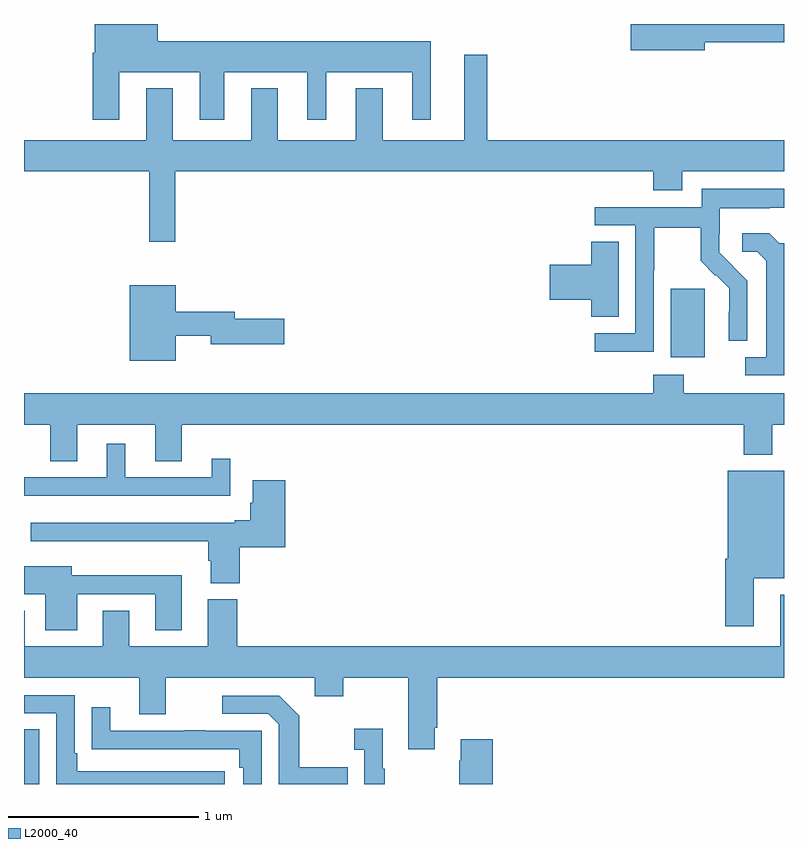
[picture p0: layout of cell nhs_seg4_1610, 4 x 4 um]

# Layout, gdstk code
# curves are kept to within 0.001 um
import gdstk
lib = gdstk.Library(unit=1e-6, precision=1e-09)
def R(c, l, rs):  # rectangles x0, y0, x1, y1
    for r in rs: c.add(gdstk.rectangle(r[:2], r[2:], *l))
def P(c, l, *ps):  # polygons
    for p in ps: c.add(gdstk.Polygon(p, *l))
L2000_40 = (2000, 40)

nhs_seg4_1610 = lib.new_cell('nhs_seg4_1610')
R(nhs_seg4_1610, L2000_40, [(193,822.9,193.08,823.187), (196.403,825.146,196.582,825.507)])
P(nhs_seg4_1610, L2000_40, [(196.582,826.804),(197,826.804),(197,826.9),(196.194,826.9),(196.194,826.762),(196.582,826.762)],
  [(193.501,826.646),(193.925,826.646),(193.925,826.395),(194.053,826.395),(194.053,826.646),(194.492,826.646),(194.492,826.395),(194.59,826.395),(194.59,826.646),(195.044,826.646),(195.044,826.395),(195.142,826.395),(195.142,826.81),(193.705,826.81),(193.705,826.9),(193.373,826.9),(193.373,826.75),(193.361,826.75),(193.361,826.395),(193.501,826.395)],
  [(193.796,826.124),(196.313,826.124),(196.313,826.025),(196.465,826.025),(196.465,826.124),(197,826.124),(197,826.288),(195.439,826.288),(195.439,826.738),(195.317,826.738),(195.317,826.288),(194.887,826.288),(194.887,826.561),(194.747,826.561),(194.747,826.288),(194.335,826.288),(194.335,826.561),(194.195,826.561),(194.195,826.288),(193.783,826.288),(193.783,826.561),(193.643,826.561),(193.643,826.288),(193,826.288),(193,826.124),(193.66,826.124),(193.66,825.753),(193.796,825.753)],
  [(196.314,825.604),(196.317,825.604),(196.317,825.828),(196.561,825.828),(196.561,825.653),(196.638,825.576),(196.641,825.579),(196.712,825.509),(196.712,825.386),(196.71,825.386),(196.71,825.232),(196.806,825.232),(196.806,825.55),(196.66,825.698),(196.66,825.795),(196.662,825.795),(196.662,825.929),(196.925,825.929),(196.925,825.933),(197,825.933),(197,826.033),(196.566,826.033),(196.566,825.936),(196.005,825.936),(196.005,825.84),(196.218,825.84),(196.218,825.273),(196.005,825.273),(196.005,825.175),(196.314,825.175)],
  [(197,825.747),(196.974,825.747),(196.922,825.799),(196.779,825.799),(196.779,825.702),(196.86,825.702),(196.907,825.655),(196.907,825.147),(196.797,825.147),(196.797,825.051),(197,825.051)],
  [(196.129,825.755),(195.986,825.755),(195.986,825.632),(195.768,825.632),(195.768,825.449),(195.986,825.449),(195.986,825.358),(196.129,825.358)],
  [(193.798,825.258),(193.982,825.258),(193.982,825.215),(194.371,825.215),(194.371,825.35),(194.11,825.35),(194.11,825.386),(193.798,825.386),(193.798,825.526),(193.556,825.526),(193.556,825.128),(193.798,825.128)],
  [(193.279,824.792),(193.691,824.792),(193.691,824.599),(193.831,824.599),(193.831,824.792),(196.787,824.792),(196.787,824.633),(196.939,824.633),(196.939,824.792),(197,824.792),(197,824.956),(196.473,824.956),(196.473,825.055),(196.313,825.055),(196.313,824.956),(193,824.956),(193,824.792),(193.139,824.792),(193.139,824.599),(193.279,824.599)],
  [(194.085,824.611),(193.988,824.611),(193.988,824.514),(193.534,824.514),(193.534,824.692),(193.436,824.692),(193.436,824.514),(193,824.514),(193,824.417),(194.085,824.417)],
  [(196.84,823.982),(197,823.982),(197,824.548),(196.703,824.548),(196.703,824.086),(196.691,824.086),(196.691,823.731),(196.84,823.731)],
  [(194.135,824.147),(194.375,824.147),(194.375,824.5),(194.204,824.5),(194.204,824.379),(194.192,824.379),(194.192,824.288),(194.108,824.288),(194.108,824.275),(193.035,824.275),(193.035,824.177),(193.97,824.177),(193.97,824.075),(193.982,824.075),(193.982,823.957),(194.135,823.957)],
  [(193.279,823.898),(193.691,823.898),(193.691,823.71),(193.831,823.71),(193.831,823.999),(193.252,823.999),(193.252,824.047),(193,824.047),(193,823.898),(193.112,823.898),(193.112,823.71),(193.279,823.71)],
  [(195.163,823.195),(195.176,823.195),(195.176,823.46),(197,823.46),(197,823.897),(196.979,823.897),(196.979,823.624),(194.123,823.624),(194.123,823.872),(193.967,823.872),(193.967,823.624),(193.555,823.624),(193.555,823.813),(193.415,823.813),(193.415,823.624),(193.003,823.624),(193.003,823.813),(193,823.813),(193,823.46),(193.607,823.46),(193.607,823.266),(193.747,823.266),(193.747,823.46),(194.531,823.46),(194.531,823.361),(194.679,823.361),(194.679,823.46),(195.023,823.46),(195.023,823.083),(195.163,823.083)],
  [(194.056,822.966),(193.279,822.966),(193.279,823.063),(193.266,823.063),(193.266,823.368),(193,823.368),(193,823.272),(193.17,823.272),(193.17,822.9),(194.056,822.9)],
  [(194.705,822.987),(194.449,822.987),(194.449,823.259),(194.343,823.365),(194.043,823.365),(194.043,823.269),(194.286,823.269),(194.34,823.215),(194.34,822.9),(194.705,822.9)],
  [(194.25,823.179),(193.955,823.179),(193.955,823.184),(193.843,823.184),(193.843,823.179),(193.453,823.179),(193.453,823.303),(193.357,823.303),(193.357,823.084),(193.459,823.084),(193.459,823.083),(194.134,823.083),(194.134,822.986),(194.154,822.986),(194.154,822.9),(194.25,822.9)],
  [(194.899,822.979),(194.887,822.979),(194.887,823.192),(194.739,823.192),(194.739,823.079),(194.79,823.079),(194.79,822.9),(194.899,822.9)],
  [(195.467,823.135),(195.299,823.135),(195.299,823.022),(195.292,823.022),(195.292,822.9),(195.467,822.9)])

lib.write_gds('nhs_seg4_1610.gds')
